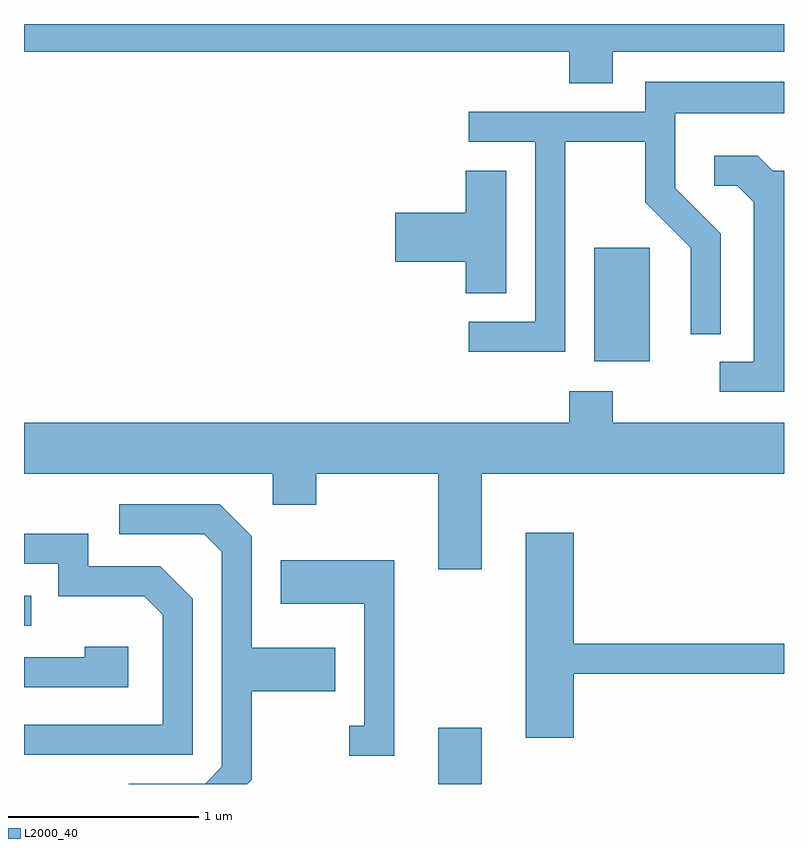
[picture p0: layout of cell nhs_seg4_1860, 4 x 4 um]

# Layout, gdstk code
import gdstk
lib = gdstk.Library(unit=1e-6, precision=1e-09)
def R(c, l, rs):  # rectangles x0, y0, x1, y1
    for r in rs: c.add(gdstk.rectangle(r[:2], r[2:], *l))
def P(c, l, *ps):  # polygons
    for p in ps: c.add(gdstk.Polygon(p, *l))
L2000_40 = (2000, 40)

nhs_seg4_1860 = lib.new_cell('nhs_seg4_1860')
R(nhs_seg4_1860, L2000_40, [(241.791,1301.982,242.019,1302.279), (239.611,1302.816,239.648,1302.974), (242.611,1304.206,242.904,1304.804)])
P(nhs_seg4_1860, L2000_40, [(242.709,1305.836),(243.611,1305.836),(243.611,1305.982),(239.611,1305.982),(239.611,1305.836),(242.481,1305.836),(242.481,1305.671),(242.709,1305.671)],
  [(242.459,1305.361),(242.881,1305.361),(242.881,1305.044),(243.121,1304.804),(243.121,1304.348),(243.279,1304.348),(243.279,1304.877),(243.039,1305.117),(243.039,1305.511),(243.611,1305.511),(243.611,1305.679),(242.881,1305.679),(242.881,1305.519),(241.953,1305.519),(241.953,1305.361),(242.301,1305.361),(242.301,1304.414),(241.953,1304.414),(241.953,1304.256),(242.459,1304.256)],
  [(243.611,1305.209),(243.552,1305.209),(243.472,1305.289),(243.243,1305.289),(243.243,1305.131),(243.364,1305.131),(243.451,1305.044),(243.451,1304.204),(243.273,1304.204),(243.273,1304.046),(243.611,1304.046)],
  [(242.149,1305.209),(241.936,1305.209),(241.936,1304.989),(241.566,1304.989),(241.566,1304.731),(241.936,1304.731),(241.936,1304.566),(242.149,1304.566)],
  [(242.019,1303.616),(243.611,1303.616),(243.611,1303.884),(242.709,1303.884),(242.709,1304.049),(242.481,1304.049),(242.481,1303.884),(239.611,1303.884),(239.611,1303.616),(240.921,1303.616),(240.921,1303.451),(241.149,1303.451),(241.149,1303.616),(241.791,1303.616),(241.791,1303.111),(242.019,1303.111)],
  [(240.809,1302.004),(240.809,1302.471),(241.249,1302.471),(241.249,1302.699),(240.809,1302.699),(240.809,1303.287),(240.642,1303.454),(240.113,1303.454),(240.113,1303.296),(240.559,1303.296),(240.651,1303.204),(240.651,1302.072),(240.564,1301.984),(240.163,1301.984),(240.163,1301.982),(240.787,1301.982)],
  [(242.504,1302.561),(243.611,1302.561),(243.611,1302.719),(242.504,1302.719),(242.504,1303.304),(242.251,1303.304),(242.251,1302.226),(242.504,1302.226)],
  [(240.499,1302.957),(240.327,1303.129),(239.949,1303.129),(239.949,1303.299),(239.611,1303.299),(239.611,1303.141),(239.791,1303.141),(239.791,1302.971),(240.244,1302.971),(240.341,1302.874),(240.341,1302.294),(239.611,1302.294),(239.611,1302.136),(240.499,1302.136)],
  [(241.559,1303.159),(240.961,1303.159),(240.961,1302.931),(241.401,1302.931),(241.401,1302.289),(241.323,1302.289),(241.323,1302.131),(241.559,1302.131)],
  [(240.159,1302.704),(239.931,1302.704),(239.931,1302.649),(239.611,1302.649),(239.611,1302.491),(240.159,1302.491)])

lib.write_gds('nhs_seg4_1860.gds')
